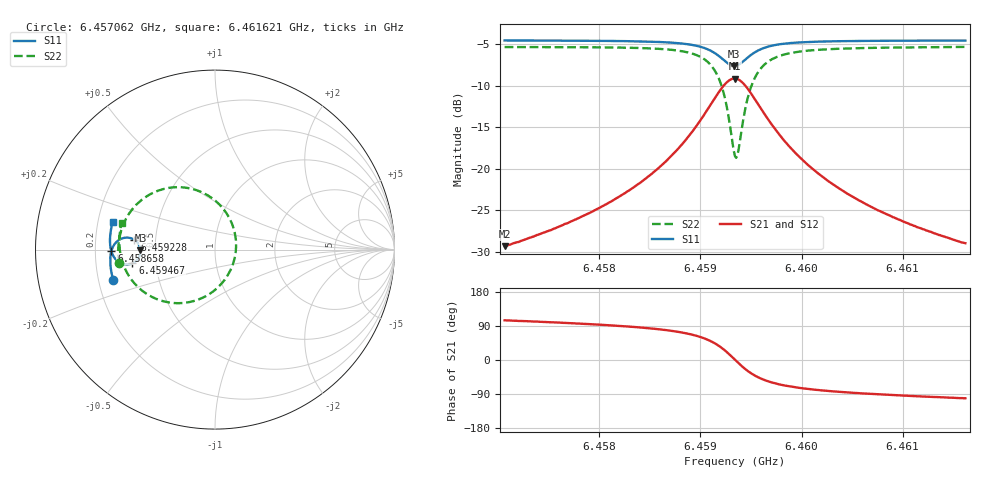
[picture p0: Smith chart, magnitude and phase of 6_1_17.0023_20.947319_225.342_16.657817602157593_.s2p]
#  HZ  S  RI  R  50.00
! Rohde & Schwarz Vector Network Analyzer
! Rohde-Schwarz,ZNB20-2Port,1311601062101988,3.16
! Created: UTC 3/20/2024, 10:52:16 PM
! freq[Hz]  re:S11  im:S11  re:S21  im:S21  re:S12  im:S12  re:S22  im:S22
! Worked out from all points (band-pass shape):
!   401 points, 6.457062 GHz to 6.461621 GHz, reference 50 ohm
!   highest |S21| = -9.14 dB at 6.459342 GHz (marker M1); lowest = -29.3 dB at 6.457062 GHz (marker M2)
!   |S21| within 3 dB of the highest: 6.459109 GHz to 6.459565 GHz (455.9 kHz wide, 0.00706 % of centre)
!   lowest |S11| = -7.6 dB at 6.459331 GHz (marker M3), VSWR 2.42, Z = 20.6 - j0.176 ohm
!   |S11| at or under -10 dB: nowhere
!   |S22| runs from -18.7 to -5.3 dB; largest |S21 - S12| = 0.014
!   S11 on the Smith chart (normalised r, x): 6.457062 GHz: 0.26, -0.13; 6.458658 GHz: 0.27, -0.01; 6.459228 GHz: 0.38, +0.05; 6.459467 GHz: 0.37, -0.07; 6.461621 GHz: 0.26, +0.12
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6.4570624e9  -0.5678 -0.1671  -0.00865 0.033  -0.00693 0.0329  -0.5346 -0.0769
6.4578261e9  -0.5811 -0.1  -0.00506 0.0512  -0.00259 0.0505  -0.5386 0.0134
6.4582364e9  -0.5836 -0.0587  0.000841 0.0702  0.00408 0.0688  -0.5296 0.0788
6.4585897e9  -0.5793 -0.0162  0.0157 0.1002  0.0196 0.0974  -0.5022 0.1592
6.4586581e9  -0.5769 -0.0067  0.021 0.1086  0.0253 0.1055  -0.4917 0.1792
6.4588518e9  -0.5638 0.0239  0.0488 0.1399  0.053 0.135  -0.4396 0.249
6.459e9  -0.54 0.0502  0.096 0.1704  0.0994 0.1638  -0.3523 0.3129
6.4591368e9  -0.4946 0.0668  0.1863 0.185  0.1876 0.1778  -0.1867 0.3472
6.459228e9  -0.4492 0.0544  0.2775 0.1494  0.2787 0.1431  -0.0176 0.2873
6.459285e9  -0.4243 0.0273  0.3287 0.0888  0.3312 0.0828  0.0792 0.1772
6.4593305e9  -0.4157 -0.00353  0.3484 0.0216  0.3521 0.0138  0.1167 0.0512
6.4593419e9  -0.4157 -0.0116  0.3491 0.00358  0.353 -0.00494  0.1176 0.0176
6.4593761e9  -0.4209 -0.0353  0.3406 -0.0489  0.3442 -0.0596  0.0997 -0.0817
6.4594217e9  -0.4377 -0.0609  0.3092 -0.1073  0.3104 -0.1203  0.0353 -0.1909
6.4594673e9  -0.4604 -0.0761  0.2656 -0.1462  0.2635 -0.1602  -0.053 -0.2604
6.4595585e9  -0.5039 -0.0815  0.1805 -0.1741  0.1734 -0.1855  -0.2215 -0.2982
6.4597067e9  -0.5471 -0.0603  0.0941 -0.1581  0.085 -0.164  -0.3851 -0.2439
6.4598662e9  -0.5683 -0.0325  0.0499 -0.1297  0.0421 -0.1321  -0.4629 -0.1709
6.4601056e9  -0.5808 0.003  0.0213 -0.0978  0.0155 -0.098  -0.509 -0.0882
6.4604361e9  -0.585 0.0425  0.00599 -0.0715  0.00192 -0.071  -0.5291 -0.0114
6.4608692e9  -0.583 0.0862  -0.00186 -0.0523  -0.0047 -0.0512  -0.5329 0.0587
6.4616215e9  -0.5708 0.1529  -0.00669 -0.0349  -0.00844 -0.0338  -0.5208 0.1477
